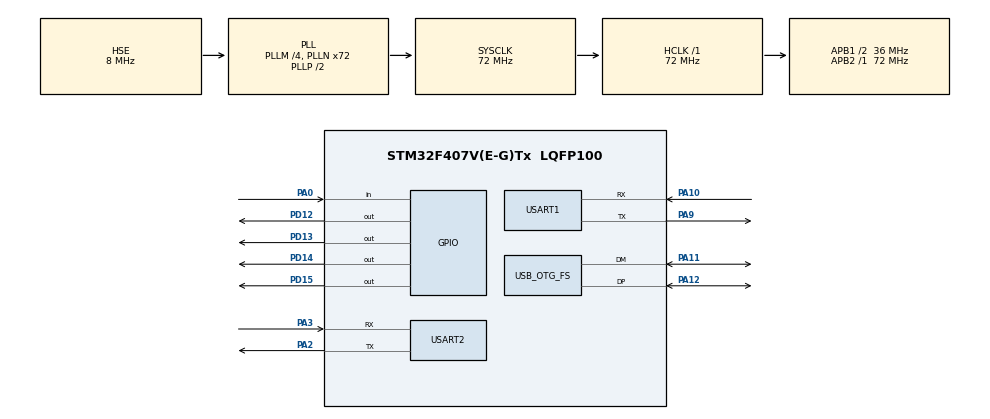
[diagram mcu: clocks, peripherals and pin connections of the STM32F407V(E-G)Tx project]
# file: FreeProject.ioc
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FREERTOS.Tasks01=defaultTask,0,128,StartDefaultTask,Default,NULL,Dynamic,NULL,NULL;task2,0,128,task2_init,Default,NULL,Dynamic,NULL,NULL
Mcu.Family=STM32F4
Mcu.Name=STM32F407V(E-G)Tx
Mcu.Package=LQFP100
NVIC.OTG_FS_IRQn=true\:5\:0\:false\:false\:true\:true\:false
NVIC.PriorityGroup=NVIC_PRIORITYGROUP_4
NVIC.TIM1_UP_TIM10_IRQn=true\:0\:0\:false\:false\:true\:false\:false
NVIC.TimeBase=TIM1_UP_TIM10_IRQn
NVIC.TimeBaseIP=TIM1
PA0-WKUP.Signal=GPIO_Input
PA10.Mode=Asynchronous
PA10.Signal=USART1_RX
PA11.Mode=Device_Only
PA11.Signal=USB_OTG_FS_DM
PA12.Mode=Device_Only
PA12.Signal=USB_OTG_FS_DP
PA13.Mode=Serial_Wire
PA13.Signal=SYS_JTMS-SWDIO
PA14.Mode=Serial_Wire
PA14.Signal=SYS_JTCK-SWCLK
PA2.Mode=Asynchronous
PA2.Signal=USART2_TX
PA3.Mode=Asynchronous
PA3.Signal=USART2_RX
PA9.Mode=Asynchronous
PA9.Signal=USART1_TX
PC14-OSC32_IN.Mode=LSE-External-Oscillator
PC14-OSC32_IN.Signal=RCC_OSC32_IN
PC15-OSC32_OUT.Mode=LSE-External-Oscillator
PC15-OSC32_OUT.Signal=RCC_OSC32_OUT
PD12.Signal=GPIO_Output
PD13.Signal=GPIO_Output
PD14.Signal=GPIO_Output
PD15.Signal=GPIO_Output
PH0-OSC_IN.Mode=HSE-External-Oscillator
PH0-OSC_IN.Signal=RCC_OSC_IN
PH1-OSC_OUT.Mode=HSE-External-Oscillator
PH1-OSC_OUT.Signal=RCC_OSC_OUT
ProjectManager.HeapSize=0x200
ProjectManager.StackSize=0x400
ProjectManager.TargetToolchain=MDK-ARM V5
RCC.48MHZClocksFreq_Value=48000000
RCC.AHBFreq_Value=72000000
RCC.APB1CLKDivider=RCC_HCLK_DIV2
RCC.APB1Freq_Value=36000000
RCC.APB1TimFreq_Value=72000000
RCC.APB2Freq_Value=72000000
RCC.APB2TimFreq_Value=72000000
RCC.CortexFreq_Value=72000000
RCC.FLatency-AdvancedSettings=FLASH_LATENCY_2
RCC.HCLKFreq_Value=72000000
RCC.HSE_VALUE=8000000
RCC.HSI_VALUE=16000000
RCC.PLLM=4
RCC.PLLN=72
RCC.PLLQ=3
RCC.SYSCLKFreq_VALUE=72000000
RCC.SYSCLKSource=RCC_SYSCLKSOURCE_PLLCLK
RCC.VCOOutputFreq_Value=144000000
USART1.VirtualMode=VM_ASYNC
USART2.VirtualMode=VM_ASYNC
USB_DEVICE.CLASS_NAME_FS=CDC
USB_DEVICE.VirtualMode-CDC_FS=Cdc
USB_DEVICE.VirtualModeFS=Cdc_FS
USB_OTG_FS.VirtualMode=Device_Only
VP_FREERTOS_VS_ENABLE.Mode=Enabled
VP_SYS_VS_tim1.Mode=TIM1
VP_USB_DEVICE_VS_USB_DEVICE_CDC_FS.Mode=CDC_FS
board=custom

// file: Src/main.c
/* USER CODE BEGIN Header */
/**
  ******************************************************************************
  * @file           : main.c
  * @brief          : Main program body
  ******************************************************************************
  * This notice applies to any and all portions of this file
  * that are not between comment pairs USER CODE BEGIN and
  * USER CODE END. Other portions of this file, whether
  * inserted by the user or by software development tools
  * are owned by their respective copyright owners.
  *
  * Copyright (c) 2024 STMicroelectronics International N.V.
  * All rights reserved.
  *
  * Redistribution and use in source and binary forms, with or without
  * modification, are permitted, provided that the following conditions are met:
  *
  * 1. Redistribution of source code must retain the above copyright notice,
  *    this list of conditions and the following disclaimer.
  * 2. Redistributions in binary form must reproduce the above copyright notice,
  *    this list of conditions and the following disclaimer in the documentation
  *    and/or other materials provided with the distribution.
  * 3. Neither the name of STMicroelectronics nor the names of other
  *    contributors to this software may be used to endorse or promote products
  *    derived from this software without specific written permission.
  * 4. This software, including modifications and/or derivative works of this
  *    software, must execute solely and exclusively on microcontroller or
  *    microprocessor devices manufactured by or for STMicroelectronics.
  * 5. Redistribution and use of this software other than as permitted under
  *    this license is void and will automatically terminate your rights under
  *    this license.
  *
  * THIS SOFTWARE IS PROVIDED BY STMICROELECTRONICS AND CONTRIBUTORS "AS IS"
  * AND ANY EXPRESS, IMPLIED OR STATUTORY WARRANTIES, INCLUDING, BUT NOT
  * LIMITED TO, THE IMPLIED WARRANTIES OF MERCHANTABILITY, FITNESS FOR A
  * PARTICULAR PURPOSE AND NON-INFRINGEMENT OF THIRD PARTY INTELLECTUAL PROPERTY
  * RIGHTS ARE DISCLAIMED TO THE FULLEST EXTENT PERMITTED BY LAW. IN NO EVENT
  * SHALL STMICROELECTRONICS OR CONTRIBUTORS BE LIABLE FOR ANY DIRECT, INDIRECT,
  * INCIDENTAL, SPECIAL, EXEMPLARY, OR CONSEQUENTIAL DAMAGES (INCLUDING, BUT NOT
  * LIMITED TO, PROCUREMENT OF SUBSTITUTE GOODS OR SERVICES; LOSS OF USE, DATA,
  * OR PROFITS; OR BUSINESS INTERRUPTION) HOWEVER CAUSED AND ON ANY THEORY OF
  * LIABILITY, WHETHER IN CONTRACT, STRICT LIABILITY, OR TORT (INCLUDING
  * NEGLIGENCE OR OTHERWISE) ARISING IN ANY WAY OUT OF THE USE OF THIS SOFTWARE,
  * EVEN IF ADVISED OF THE POSSIBILITY OF SUCH DAMAGE.
  *
  ******************************************************************************
  */
/* USER CODE END Header */

#include "main.h"
#include "cmsis_os.h"
#include "usb_device.h"
#include "usbd_cdc_if.h"

UART_HandleTypeDef huart1;
UART_HandleTypeDef huart2;

osThreadId defaultTaskHandle;
osThreadId task2Handle;
/* USER CODE BEGIN PV */
osThreadId task3Handle;
/* USER CODE END PV */

void SystemClock_Config(void);
static void MX_GPIO_Init(void);
static void MX_USART2_UART_Init(void);
static void MX_USART1_UART_Init(void);
void StartDefaultTask(void const * argument);
void task2_init(void const * argument);

/* USER CODE BEGIN PFP */
void task3_init(void const * argument);
/* USER CODE END PFP */

/* USER CODE BEGIN 0 */
void send_deftask(void) {
	uint8_t data [] = "hello from default task \r";
	HAL_UART_Transmit(&huart1 ,data,sizeof(data),500);
}

void send_task2(void) {
	uint8_t data [] = "hello from task 2 \r";
	HAL_UART_Transmit(&huart1 , data,sizeof(data),500);
}

void send_task3(void) {
	uint8_t data [] = "hello from task 3 \r";
	HAL_UART_Transmit(&huart1 , data,sizeof(data),500);
}

uint8_t msg_received [30];

/* USER CODE END 0 */

int main(void)
{

  /* MCU Configuration--------------------------------------------------------*/

  /* Reset of all peripherals, Initializes the Flash interface and the Systick. */
  HAL_Init();

  /* Configure the system clock */
  SystemClock_Config();

  /* Initialize all configured peripherals */
  MX_GPIO_Init();
  MX_USART2_UART_Init();
  MX_USART1_UART_Init();

  /* Create the thread(s) */
  /* definition and creation of defaultTask */
  osThreadDef(defaultTask, StartDefaultTask, osPriorityNormal, 0, 128);
  defaultTaskHandle = osThreadCreate(osThread(defaultTask), NULL);

  /* definition and creation of task2 */
  osThreadDef(task2, task2_init, osPriorityNormal, 0, 128);
  task2Handle = osThreadCreate(osThread(task2), NULL);

	osThreadDef(task3, task3_init, osPriorityNormal, 0, 128);
  task3Handle = osThreadCreate(osThread(task3), NULL);

  /* Start scheduler */
  osKernelStart();

  /* We should never get here as control is now taken by the scheduler */

  /* Infinite loop */
  while (1)
  {

  }
}

void SystemClock_Config(void)
{
  RCC_OscInitTypeDef RCC_OscInitStruct = {0};
  RCC_ClkInitTypeDef RCC_ClkInitStruct = {0};

  /**Configure the main internal regulator output voltage
  */
  __HAL_RCC_PWR_CLK_ENABLE();
  __HAL_PWR_VOLTAGESCALING_CONFIG(PWR_REGULATOR_VOLTAGE_SCALE1);
  /**Initializes the CPU, AHB and APB busses clocks
  */
  RCC_OscInitStruct.OscillatorType = RCC_OSCILLATORTYPE_HSE;
  RCC_OscInitStruct.HSEState = RCC_HSE_ON;
  RCC_OscInitStruct.PLL.PLLState = RCC_PLL_ON;
  RCC_OscInitStruct.PLL.PLLSource = RCC_PLLSOURCE_HSE;
  RCC_OscInitStruct.PLL.PLLM = 4;
  RCC_OscInitStruct.PLL.PLLN = 72;
  RCC_OscInitStruct.PLL.PLLP = RCC_PLLP_DIV2;
  RCC_OscInitStruct.PLL.PLLQ = 3;
  if (HAL_RCC_OscConfig(&RCC_OscInitStruct) != HAL_OK)
  {
    Error_Handler();
  }
  /**Initializes the CPU, AHB and APB busses clocks
  */
  RCC_ClkInitStruct.ClockType = RCC_CLOCKTYPE_HCLK|RCC_CLOCKTYPE_SYSCLK
                              |RCC_CLOCKTYPE_PCLK1|RCC_CLOCKTYPE_PCLK2;
  RCC_ClkInitStruct.SYSCLKSource = RCC_SYSCLKSOURCE_PLLCLK;
  RCC_ClkInitStruct.AHBCLKDivider = RCC_SYSCLK_DIV1;
  RCC_ClkInitStruct.APB1CLKDivider = RCC_HCLK_DIV2;
  RCC_ClkInitStruct.APB2CLKDivider = RCC_HCLK_DIV1;

  if (HAL_RCC_ClockConfig(&RCC_ClkInitStruct, FLASH_LATENCY_2) != HAL_OK)
  {
    Error_Handler();
  }
}

static void MX_USART1_UART_Init(void)
{

  huart1.Instance = USART1;
  huart1.Init.BaudRate = 115200;
  huart1.Init.WordLength = UART_WORDLENGTH_8B;
  huart1.Init.StopBits = UART_STOPBITS_1;
  huart1.Init.Parity = UART_PARITY_NONE;
  huart1.Init.Mode = UART_MODE_TX_RX;
  huart1.Init.HwFlowCtl = UART_HWCONTROL_NONE;
  huart1.Init.OverSampling = UART_OVERSAMPLING_16;
  if (HAL_UART_Init(&huart1) != HAL_OK)
  {
    Error_Handler();
  }

}

static void MX_USART2_UART_Init(void)
{

  huart2.Instance = USART2;
  huart2.Init.BaudRate = 115200;
  huart2.Init.WordLength = UART_WORDLENGTH_8B;
  huart2.Init.StopBits = UART_STOPBITS_1;
  huart2.Init.Parity = UART_PARITY_NONE;
  huart2.Init.Mode = UART_MODE_TX_RX;
  huart2.Init.HwFlowCtl = UART_HWCONTROL_NONE;
  huart2.Init.OverSampling = UART_OVERSAMPLING_16;
  if (HAL_UART_Init(&huart2) != HAL_OK)
  {
    Error_Handler();
  }

}

static void MX_GPIO_Init(void)
{
  GPIO_InitTypeDef GPIO_InitStruct = {0};

  /* GPIO Ports Clock Enable */
  __HAL_RCC_GPIOC_CLK_ENABLE();
  __HAL_RCC_GPIOH_CLK_ENABLE();
  __HAL_RCC_GPIOA_CLK_ENABLE();
  __HAL_RCC_GPIOD_CLK_ENABLE();

  /*Configure GPIO pin Output Level */
  HAL_GPIO_WritePin(GPIOD, GPIO_PIN_12|GPIO_PIN_13|GPIO_PIN_14|GPIO_PIN_15, GPIO_PIN_RESET);

  /*Configure GPIO pin : PA0 */
  GPIO_InitStruct.Pin = GPIO_PIN_0;
  GPIO_InitStruct.Mode = GPIO_MODE_INPUT;
  GPIO_InitStruct.Pull = GPIO_NOPULL;
  HAL_GPIO_Init(GPIOA, &GPIO_InitStruct);

  /*Configure GPIO pins : PD12 PD13 PD14 PD15 */
  GPIO_InitStruct.Pin = GPIO_PIN_12|GPIO_PIN_13|GPIO_PIN_14|GPIO_PIN_15;
  GPIO_InitStruct.Mode = GPIO_MODE_OUTPUT_PP;
  GPIO_InitStruct.Pull = GPIO_NOPULL;
  GPIO_InitStruct.Speed = GPIO_SPEED_FREQ_LOW;
  HAL_GPIO_Init(GPIOD, &GPIO_InitStruct);

}

void StartDefaultTask(void const * argument)
{
  /* init code for USB_DEVICE */
  MX_USB_DEVICE_Init();

  /* USER CODE BEGIN 5 */
  /* Infinite loop */
  for(;;)
  {
		send_deftask();
		HAL_GPIO_TogglePin(GPIOD,GPIO_PIN_12);
    osDelay(100);
  }
  /* USER CODE END 5 */
}

void task2_init(void const * argument)
{
  /* USER CODE BEGIN task2_init */
  /* Infinite loop */
  for(;;)
  {
		send_task2();
		HAL_GPIO_TogglePin(GPIOD,GPIO_PIN_14);
    osDelay(500);
  }
}

  /* USER CODE END task2_init */
void task3_init(void const * argument)
{
  /* USER CODE BEGIN task2_init */
  /* Infinite loop */
  for(;;)
  {
		send_task3();
		HAL_GPIO_TogglePin(GPIOD,GPIO_PIN_15);
    osDelay(1000);
  }
}

void HAL_TIM_PeriodElapsedCallback(TIM_HandleTypeDef *htim)
{
  if (htim->Instance == TIM1) {
    HAL_IncTick();
  }
}

void Error_Handler(void)
{
}

/************************ (C) COPYRIGHT STMicroelectronics *****END OF FILE****/
